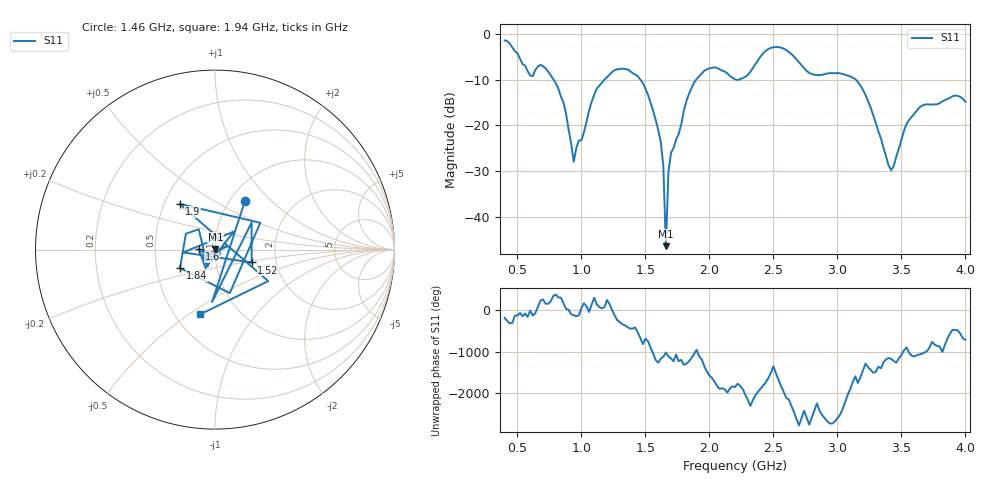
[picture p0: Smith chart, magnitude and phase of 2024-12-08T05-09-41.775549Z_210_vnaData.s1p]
!Created with skrf (http://scikit-rf.org).
# Hz S RI R 50.0
!freq ReS11 ImS11
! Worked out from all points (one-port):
!   181 points, 400 MHz to 4 GHz, reference 50 ohm
!   lowest |S11| = -46.4 dB at 1.66 GHz (marker M1), VSWR 1.01, Z = 50.2 + j0.419 ohm
!   |S11| at or under -10 dB: 783.9 MHz to 1.179 GHz (395 MHz wide, 40.2 % of centre); 1.462 GHz to 1.896 GHz (434 MHz wide, 25.9 % of centre); 3.145 GHz to end of sweep (the widest 3 of 4)
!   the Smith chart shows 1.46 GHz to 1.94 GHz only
!   S11 on the Smith chart (normalised r, x): 1.46 GHz: 1.17, +0.71; 1.52 GHz: 1.49, -0.22; 1.6 GHz: 0.84, +0.00; 1.84 GHz: 0.66, -0.14; 1.9 GHz: 0.60, +0.34; 1.94 GHz: 0.66, -0.55
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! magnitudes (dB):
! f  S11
! 400 MHz  -1.4
! 600 MHz  -9.1
! 720 MHz  -7.5
! 860 MHz  -15.0
! 940 MHz  -28.0
! 1.12 GHz  -11.9
! 1.3 GHz  -7.6
! 1.46 GHz  -9.9
! 1.52 GHz  -13.3
! 1.6 GHz  -21.0
! 1.64 GHz  -28.8
! 1.66 GHz  -46.4
! 1.68 GHz  -30.2
! 1.7 GHz  -26.0
! 1.76 GHz  -21.9
! 1.84 GHz  -13.1
! 1.9 GHz  -9.8
! 1.94 GHz  -8.6
! 2.2 GHz  -9.9
! 2.48 GHz  -3.0
! 2.66 GHz  -4.9
! 2.8 GHz  -8.7
! 3.1 GHz  -9.3
! 3.22 GHz  -13.4
! 3.42 GHz  -29.8
! 3.56 GHz  -18.8
! 3.68 GHz  -15.5
! 4 GHz  -14.8
